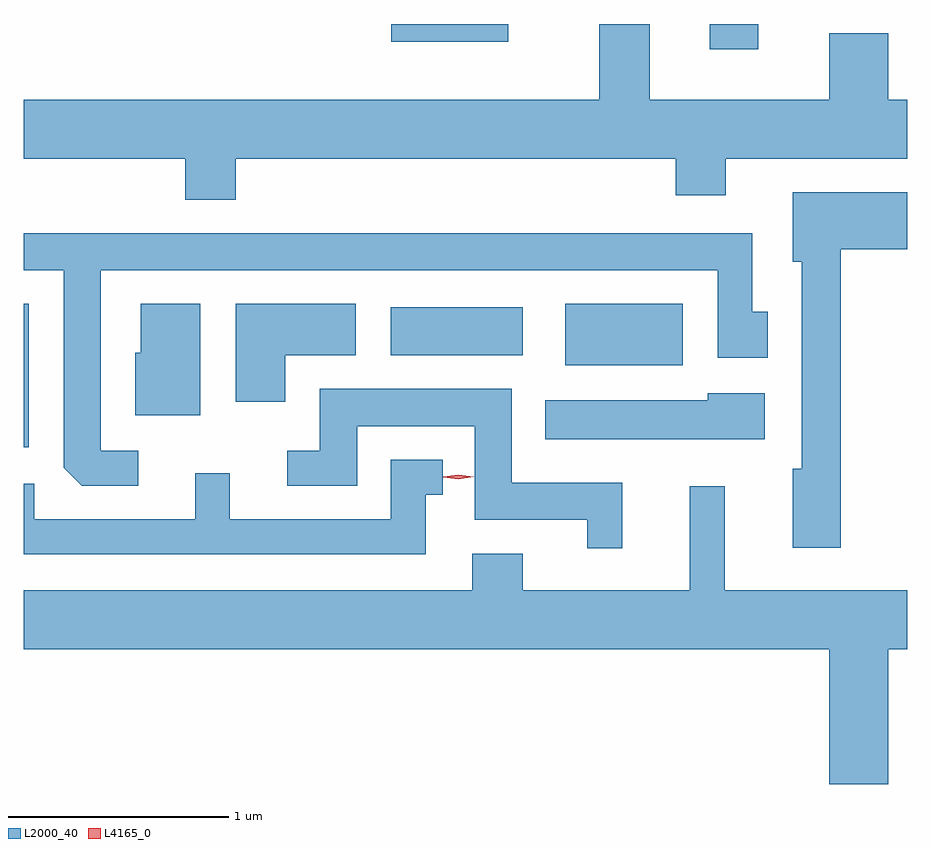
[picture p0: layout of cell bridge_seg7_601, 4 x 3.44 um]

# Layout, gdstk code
import gdstk
lib = gdstk.Library(unit=1e-6, precision=1e-09)
def R(c, l, rs):  # rectangles x0, y0, x1, y1
    for r in rs: c.add(gdstk.rectangle(r[:2], r[2:], *l))
def P(c, l, *ps):  # polygons
    for p in ps: c.add(gdstk.Polygon(p, *l))
L2000_40 = (2000, 40)
L4165_0 = (4165, 0)

bridge_seg7_601 = lib.new_cell('bridge_seg7_601')
R(bridge_seg7_601, L2000_40, [(810.83,1724.111,810.854,1724.759), (813.281,1724.481,813.814,1724.759), (812.491,1724.526,813.089,1724.744), (813.936,1725.911,814.154,1726.026), (812.493,1725.946,813.024,1726.026)])
P(bridge_seg7_601, L2000_40, [(811.789,1725.416),(813.781,1725.416),(813.781,1725.251),(814.009,1725.251),(814.009,1725.416),(814.83,1725.416),(814.83,1725.684),(814.744,1725.684),(814.744,1725.984),(814.476,1725.984),(814.476,1725.684),(813.664,1725.684),(813.664,1726.026),(813.436,1726.026),(813.436,1725.684),(810.83,1725.684),(810.83,1725.416),(811.561,1725.416),(811.561,1725.231),(811.789,1725.231)],
  [(814.529,1725.006),(814.83,1725.006),(814.83,1725.264),(814.311,1725.264),(814.311,1724.951),(814.351,1724.951),(814.351,1724.014),(814.311,1724.014),(814.311,1723.656),(814.529,1723.656)],
  [(811.348,1724.094),(811.179,1724.094),(811.179,1724.911),(813.971,1724.911),(813.971,1724.516),(814.199,1724.516),(814.199,1724.724),(814.129,1724.724),(814.129,1725.079),(810.83,1725.079),(810.83,1724.911),(811.011,1724.911),(811.011,1724.017),(811.092,1723.936),(811.348,1723.936)],
  [(812.014,1724.526),(812.334,1724.526),(812.334,1724.759),(811.791,1724.759),(811.791,1724.316),(812.014,1724.316)],
  [(811.629,1724.759),(811.361,1724.759),(811.361,1724.539),(811.336,1724.539),(811.336,1724.256),(811.629,1724.256)],
  [(813.539,1723.949),(813.039,1723.949),(813.039,1724.374),(812.171,1724.374),(812.171,1724.094),(812.023,1724.094),(812.023,1723.936),(812.339,1723.936),(812.339,1724.206),(812.871,1724.206),(812.871,1723.781),(813.381,1723.781),(813.381,1723.653),(813.539,1723.653)],
  [(814.184,1724.354),(813.926,1724.354),(813.926,1724.324),(813.191,1724.324),(813.191,1724.146),(814.184,1724.146)],
  [(812.649,1723.896),(812.728,1723.896),(812.728,1724.054),(812.491,1724.054),(812.491,1723.784),(811.764,1723.784),(811.764,1723.993),(811.606,1723.993),(811.606,1723.784),(810.879,1723.784),(810.879,1723.944),(810.83,1723.944),(810.83,1723.626),(812.649,1723.626)],
  [(814.744,1723.196),(814.83,1723.196),(814.83,1723.464),(814.004,1723.464),(814.004,1723.933),(813.846,1723.933),(813.846,1723.464),(813.089,1723.464),(813.089,1723.629),(812.861,1723.629),(812.861,1723.464),(810.83,1723.464),(810.83,1723.196),(814.476,1723.196),(814.476,1722.586),(814.744,1722.586)])
P(bridge_seg7_601, L4165_0, [(812.798,1723.966),(812.729,1723.975),(812.729,1723.976),(812.729,1723.976),(812.798,1723.986),(812.868,1723.977),(812.868,1723.976),(812.868,1723.976)])

lib.write_gds('bridge_seg7_601.gds')
